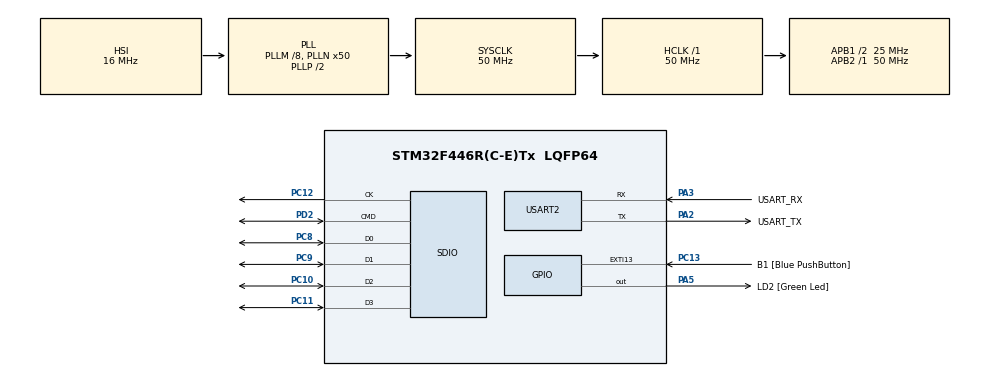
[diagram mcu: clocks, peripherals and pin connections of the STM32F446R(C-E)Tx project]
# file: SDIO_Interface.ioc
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Mcu.Family=STM32F4
Mcu.Name=STM32F446R(C-E)Tx
Mcu.Package=LQFP64
NVIC.PriorityGroup=NVIC_PRIORITYGROUP_0
PA13.GPIO_Label=TMS
PA13.Mode=Serial_Wire
PA13.Signal=SYS_JTMS-SWDIO
PA14.GPIO_Label=TCK
PA14.Mode=Serial_Wire
PA14.Signal=SYS_JTCK-SWCLK
PA2.GPIO_Label=USART_TX
PA2.Mode=Asynchronous
PA2.Signal=USART2_TX
PA3.GPIO_Label=USART_RX
PA3.Mode=Asynchronous
PA3.Signal=USART2_RX
PA5.GPIO_Label=LD2 [Green Led]
PA5.Signal=GPIO_Output
PB3.GPIO_Label=SWO
PB3.Signal=SYS_JTDO-SWO
PC10.Mode=SD_4_bits_Wide_bus
PC10.Signal=SDIO_D2
PC11.Mode=SD_4_bits_Wide_bus
PC11.Signal=SDIO_D3
PC12.Mode=SD_4_bits_Wide_bus
PC12.Signal=SDIO_CK
PC13.GPIO_Label=B1 [Blue PushButton]
PC13.GPIO_ModeDefaultEXTI=GPIO_MODE_IT_FALLING
PC13.Signal=GPXTI13
PC14-OSC32_IN.Signal=RCC_OSC32_IN
PC15-OSC32_OUT.Signal=RCC_OSC32_OUT
PC8.Mode=SD_4_bits_Wide_bus
PC8.Signal=SDIO_D0
PC9.Mode=SD_4_bits_Wide_bus
PC9.Signal=SDIO_D1
PD2.Mode=SD_4_bits_Wide_bus
PD2.Signal=SDIO_CMD
PH0-OSC_IN.Mode=HSE-External-Oscillator
PH0-OSC_IN.Signal=RCC_OSC_IN
PH1-OSC_OUT.Mode=HSE-External-Oscillator
PH1-OSC_OUT.Signal=RCC_OSC_OUT
ProjectManager.HeapSize=0x200
ProjectManager.StackSize=0x400
ProjectManager.TargetToolchain=STM32CubeIDE
RCC.48MHZClocksFreq_Value=84000000
RCC.AHBFreq_Value=50000000
RCC.APB1CLKDivider=RCC_HCLK_DIV2
RCC.APB1Freq_Value=25000000
RCC.APB1TimFreq_Value=50000000
RCC.APB2Freq_Value=50000000
RCC.APB2TimFreq_Value=50000000
RCC.CortexFreq_Value=50000000
RCC.FLatency-AdvancedSettings=FLASH_LATENCY_1
RCC.HCLKFreq_Value=50000000
RCC.HSE_VALUE=8000000
RCC.HSI_VALUE=16000000
RCC.PLLM=8
RCC.PLLN=50
RCC.PLLQ=3
RCC.SYSCLKFreq_VALUE=50000000
RCC.SYSCLKSource=RCC_SYSCLKSOURCE_PLLCLK
RCC.USBFreq_Value=33333333.333333332
RCC.VCOOutputFreq_Value=100000000
SDIO.ClockDiv=16
USART2.VirtualMode=VM_ASYNC
VP_FATFS_VS_SDIO.Mode=SDIO
board=NUCLEO-F446RE

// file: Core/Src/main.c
/* USER CODE BEGIN Header */
/**
  ******************************************************************************
  * @file           : main.c
  * @brief          : Main program body
  ******************************************************************************
  * @attention
  *
  * <h2><center>&copy; Copyright (c) 2021 STMicroelectronics.
  * All rights reserved.</center></h2>
  *
  * This software component is licensed by ST under BSD 3-Clause license,
  * the "License"; You may not use this file except in compliance with the
  * License. You may obtain a copy of the License at:
  *                        opensource.org/licenses/BSD-3-Clause
  *
  ******************************************************************************
  */
/* USER CODE END Header */
#include "main.h"
#include "fatfs.h"

/* USER CODE BEGIN Includes */
#include "File_Handling.h"
/* USER CODE END Includes */

SD_HandleTypeDef hsd;
UART_HandleTypeDef huart2;

void SystemClock_Config(void);
static void MX_GPIO_Init(void);
static void MX_USART2_UART_Init(void);
static void MX_SDIO_SD_Init(void);

/* USER CODE BEGIN 0 */
char buffer[100];
int indx = 0;
/* USER CODE END 0 */

int main(void)
{

  /* MCU Configuration--------------------------------------------------------*/

  /* Reset of all peripherals, Initializes the Flash interface and the Systick. */
  HAL_Init();

  /* Configure the system clock */
  SystemClock_Config();

  /* Initialize all configured peripherals */
  MX_GPIO_Init();
  MX_USART2_UART_Init();
  MX_SDIO_SD_Init();
  MX_FATFS_Init();
  /* USER CODE BEGIN 2 */
  Mount_SD("/");
  Format_SD();
  Create_File("FILE1.TXT");
  Create_File("FILE2.TXT");
  Unmount_SD("/");
  /* USER CODE END 2 */

  /* Infinite loop */
  while (1)
  {

    /* USER CODE BEGIN 3 */
	Mount_SD("/");
	sprintf(buffer, "Hello ---> %d\n", indx);
	Update_File("FILE1.TXT", buffer);
	sprintf(buffer, "world ---> %d\n", indx);
	Update_File("FILE2.TXT", buffer);
	Unmount_SD("/");

	indx++;

	HAL_Delay(2000);
  }
  /* USER CODE END 3 */
}

void SystemClock_Config(void)
{
  RCC_OscInitTypeDef RCC_OscInitStruct = {0};
  RCC_ClkInitTypeDef RCC_ClkInitStruct = {0};
  RCC_PeriphCLKInitTypeDef PeriphClkInitStruct = {0};

  /** Configure the main internal regulator output voltage
  */
  __HAL_RCC_PWR_CLK_ENABLE();
  __HAL_PWR_VOLTAGESCALING_CONFIG(PWR_REGULATOR_VOLTAGE_SCALE3);
  /** Initializes the RCC Oscillators according to the specified parameters
  * in the RCC_OscInitTypeDef structure.
  */
  RCC_OscInitStruct.OscillatorType = RCC_OSCILLATORTYPE_HSI;
  RCC_OscInitStruct.HSIState = RCC_HSI_ON;
  RCC_OscInitStruct.HSICalibrationValue = RCC_HSICALIBRATION_DEFAULT;
  RCC_OscInitStruct.PLL.PLLState = RCC_PLL_ON;
  RCC_OscInitStruct.PLL.PLLSource = RCC_PLLSOURCE_HSI;
  RCC_OscInitStruct.PLL.PLLM = 8;
  RCC_OscInitStruct.PLL.PLLN = 50;
  RCC_OscInitStruct.PLL.PLLP = RCC_PLLP_DIV2;
  RCC_OscInitStruct.PLL.PLLQ = 3;
  RCC_OscInitStruct.PLL.PLLR = 2;
  if (HAL_RCC_OscConfig(&RCC_OscInitStruct) != HAL_OK)
  {
    Error_Handler();
  }
  /** Initializes the CPU, AHB and APB buses clocks
  */
  RCC_ClkInitStruct.ClockType = RCC_CLOCKTYPE_HCLK|RCC_CLOCKTYPE_SYSCLK
                              |RCC_CLOCKTYPE_PCLK1|RCC_CLOCKTYPE_PCLK2;
  RCC_ClkInitStruct.SYSCLKSource = RCC_SYSCLKSOURCE_PLLCLK;
  RCC_ClkInitStruct.AHBCLKDivider = RCC_SYSCLK_DIV1;
  RCC_ClkInitStruct.APB1CLKDivider = RCC_HCLK_DIV2;
  RCC_ClkInitStruct.APB2CLKDivider = RCC_HCLK_DIV1;

  if (HAL_RCC_ClockConfig(&RCC_ClkInitStruct, FLASH_LATENCY_1) != HAL_OK)
  {
    Error_Handler();
  }
  PeriphClkInitStruct.PeriphClockSelection = RCC_PERIPHCLK_SDIO|RCC_PERIPHCLK_CLK48;
  PeriphClkInitStruct.Clk48ClockSelection = RCC_CLK48CLKSOURCE_PLLQ;
  PeriphClkInitStruct.SdioClockSelection = RCC_SDIOCLKSOURCE_CLK48;
  if (HAL_RCCEx_PeriphCLKConfig(&PeriphClkInitStruct) != HAL_OK)
  {
    Error_Handler();
  }
}

static void MX_SDIO_SD_Init(void)
{

  hsd.Instance = SDIO;
  hsd.Init.ClockEdge = SDIO_CLOCK_EDGE_RISING;
  hsd.Init.ClockBypass = SDIO_CLOCK_BYPASS_DISABLE;
  hsd.Init.ClockPowerSave = SDIO_CLOCK_POWER_SAVE_DISABLE;
  hsd.Init.BusWide = SDIO_BUS_WIDE_1B;
  hsd.Init.HardwareFlowControl = SDIO_HARDWARE_FLOW_CONTROL_DISABLE;
  hsd.Init.ClockDiv = 16;

}

static void MX_USART2_UART_Init(void)
{

  huart2.Instance = USART2;
  huart2.Init.BaudRate = 115200;
  huart2.Init.WordLength = UART_WORDLENGTH_8B;
  huart2.Init.StopBits = UART_STOPBITS_1;
  huart2.Init.Parity = UART_PARITY_NONE;
  huart2.Init.Mode = UART_MODE_TX_RX;
  huart2.Init.HwFlowCtl = UART_HWCONTROL_NONE;
  huart2.Init.OverSampling = UART_OVERSAMPLING_16;
  if (HAL_UART_Init(&huart2) != HAL_OK)
  {
    Error_Handler();
  }

}

static void MX_GPIO_Init(void)
{
  GPIO_InitTypeDef GPIO_InitStruct = {0};

  /* GPIO Ports Clock Enable */
  __HAL_RCC_GPIOC_CLK_ENABLE();
  __HAL_RCC_GPIOH_CLK_ENABLE();
  __HAL_RCC_GPIOA_CLK_ENABLE();
  __HAL_RCC_GPIOD_CLK_ENABLE();
  __HAL_RCC_GPIOB_CLK_ENABLE();

  /*Configure GPIO pin Output Level */
  HAL_GPIO_WritePin(LD2_GPIO_Port, LD2_Pin, GPIO_PIN_RESET);

  /*Configure GPIO pin : B1_Pin */
  GPIO_InitStruct.Pin = B1_Pin;
  GPIO_InitStruct.Mode = GPIO_MODE_IT_FALLING;
  GPIO_InitStruct.Pull = GPIO_NOPULL;
  HAL_GPIO_Init(B1_GPIO_Port, &GPIO_InitStruct);

  /*Configure GPIO pin : LD2_Pin */
  GPIO_InitStruct.Pin = LD2_Pin;
  GPIO_InitStruct.Mode = GPIO_MODE_OUTPUT_PP;
  GPIO_InitStruct.Pull = GPIO_NOPULL;
  GPIO_InitStruct.Speed = GPIO_SPEED_FREQ_LOW;
  HAL_GPIO_Init(LD2_GPIO_Port, &GPIO_InitStruct);

}

void Error_Handler(void)
{
}

/************************ (C) COPYRIGHT STMicroelectronics *****END OF FILE****/
